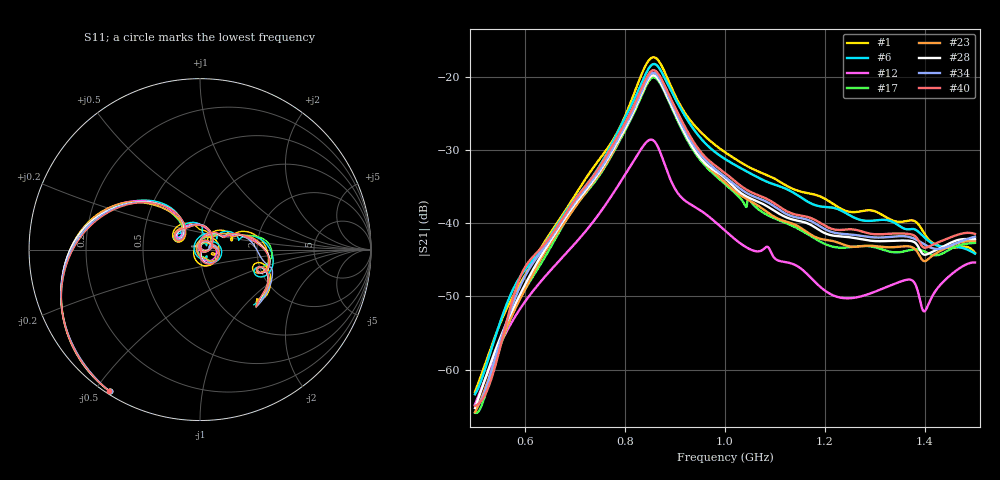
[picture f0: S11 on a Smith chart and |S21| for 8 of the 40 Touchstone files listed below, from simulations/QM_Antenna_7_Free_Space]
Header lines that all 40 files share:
! TOUCHSTONE file generated by CST MICROWAVE STUDIO
! Header version: 2018
! Port assignment regex: !\s*Touchstone port\s*([0-9]+)\s*=\s*(CST MWS port|CST DS port)\s*([0-9]+|Zmin|Zmax)\s*\(\"(.*)\"\)(\s*mode\s*([0-9]+))?.*
! Touchstone port assignment:
! Touchstone port 1 = CST MWS port 1 ("")
! Touchstone port 2 = CST MWS port 2 ("")
# GHz S DB R 50
Fixed: L_HA = 400, MT = 2.54, Rad_Dielectric = 30, Rad_Lower = 7.3, Rad_Upper = 30, a_HA = 580, a_WG = 246, b_HA = 500, b_WG = 121, c_HA = 0, c_WG = 187, d_feed = 85, h_feed = 15, h_lower = 18, h_upper = 40
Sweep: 500 MHz to 1.5 GHz
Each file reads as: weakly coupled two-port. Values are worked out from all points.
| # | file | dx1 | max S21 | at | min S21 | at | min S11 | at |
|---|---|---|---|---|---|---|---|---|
| 1 | 0_41.s2p | 866 | -17.36 dB | 857 MHz | -63.0 dB | 500 MHz | -48.4 dB | 924 MHz |
| 2 | 0_42.s2p | 883.4 | -17.61 dB | 862 MHz | -63.1 dB | 500 MHz | -43.4 dB | 918 MHz |
| 3 | 0_43.s2p | 900.7 | -17.76 dB | 857 MHz | -63.1 dB | 500 MHz | -54.6 dB | 1.119 GHz |
| 4 | 0_44.s2p | 918 | -17.97 dB | 858 MHz | -63.2 dB | 500 MHz | -48.9 dB | 909 MHz |
| 5 | 0_45.s2p | 935.3 | -18.12 dB | 858 MHz | -63.3 dB | 500 MHz | -79.4 dB | 903 MHz |
| 6 | 0_46.s2p | 953 | -18.28 dB | 858 MHz | -63.3 dB | 500 MHz | -40.2 dB | 900 MHz |
| 7 | 0_47.s2p | 970 | -18.35 dB | 858 MHz | -63.4 dB | 500 MHz | -34.4 dB | 896 MHz |
| 8 | 0_48.s2p | 987.3 | -18.40 dB | 858 MHz | -63.4 dB | 500 MHz | -33.4 dB | 931 MHz |
| 9 | 0_49.s2p | 1004.6 | -18.48 dB | 857 MHz | -63.6 dB | 500 MHz | -37.1 dB | 931 MHz |
| 10 | 0_50.s2p | 1021.9 | -18.53 dB | 858 MHz | -63.4 dB | 500 MHz | -43.9 dB | 924 MHz |
| 11 | 0_51.s2p | 1039 | -18.64 dB | 858 MHz | -63.5 dB | 500 MHz | -59.2 dB | 920 MHz |
| 12 | 1_1.s2p | 173 | -28.59 dB | 852 MHz | -64.7 dB | 500 MHz | -39.1 dB | 909 MHz |
| 13 | 1_2.s2p | 346 | -22.55 dB | 854 MHz | -63.7 dB | 500 MHz | -36.1 dB | 905 MHz |
| 14 | 1_3.s2p | 520 | -21.14 dB | 860 MHz | -64.6 dB | 500 MHz | -40.7 dB | 907 MHz |
| 15 | 1_4.s2p | 693 | -20.85 dB | 857 MHz | -64.9 dB | 500 MHz | -48.9 dB | 1.132 GHz |
| 16 | 1_5.s2p | 866 | -20.50 dB | 857 MHz | -65.5 dB | 500 MHz | -45.0 dB | 1.141 GHz |
| 17 | 1_6.s2p | 1039 | -20.09 dB | 857 MHz | -65.9 dB | 502 MHz | -43.4 dB | 905 MHz |
| 18 | 2_1.s2p | 173 | -27.09 dB | 853 MHz | -64.2 dB | 500 MHz | -39.6 dB | 909 MHz |
| 19 | 2_2.s2p | 346 | -21.86 dB | 854 MHz | -63.3 dB | 500 MHz | -39.6 dB | 907 MHz |
| 20 | 2_3.s2p | 520 | -20.55 dB | 856 MHz | -64.2 dB | 500 MHz | -40.3 dB | 905 MHz |
| 21 | 2_4.s2p | 693 | -20.36 dB | 857 MHz | -64.7 dB | 500 MHz | -47.9 dB | 1.129 GHz |
| 22 | 2_5.s2p | 866 | -20.21 dB | 861 MHz | -65.5 dB | 500 MHz | -48.9 dB | 1.142 GHz |
| 23 | 2_6.s2p | 1039 | -19.86 dB | 857 MHz | -65.8 dB | 500 MHz | -44.5 dB | 907 MHz |
| 24 | 3_1.s2p | 173 | -26.05 dB | 850 MHz | -63.6 dB | 500 MHz | -40.5 dB | 908 MHz |
| 25 | 3_2.s2p | 346 | -21.12 dB | 854 MHz | -62.9 dB | 500 MHz | -39.6 dB | 906 MHz |
| 26 | 3_3.s2p | 520 | -19.99 dB | 857 MHz | -63.9 dB | 500 MHz | -48.0 dB | 907 MHz |
| 27 | 3_4.s2p | 693 | -19.91 dB | 857 MHz | -64.8 dB | 500 MHz | -52.2 dB | 908 MHz |
| 28 | 3_5.s2p | 866 | -19.83 dB | 857 MHz | -65.2 dB | 500 MHz | -62.9 dB | 1.141 GHz |
| 29 | 3_6.s2p | 1039 | -19.58 dB | 858 MHz | -65.7 dB | 500 MHz | -48.0 dB | 908 MHz |
| 30 | 4_1.s2p | 173 | -25.01 dB | 851 MHz | -62.9 dB | 500 MHz | -41.7 dB | 909 MHz |
| 31 | 4_2.s2p | 346 | -20.33 dB | 854 MHz | -62.5 dB | 500 MHz | -45.2 dB | 907 MHz |
| 32 | 4_3.s2p | 520 | -19.46 dB | 856 MHz | -63.6 dB | 500 MHz | -57.7 dB | 910 MHz |
| 33 | 4_4.s2p | 693 | -19.48 dB | 857 MHz | -64.4 dB | 500 MHz | -52.4 dB | 911 MHz |
| 34 | 4_5.s2p | 866 | -19.46 dB | 857 MHz | -64.9 dB | 501 MHz | -76.1 dB | 909 MHz |
| 35 | 4_6.s2p | 1039 | -19.27 dB | 858 MHz | -65.7 dB | 500 MHz | -57.9 dB | 907 MHz |
| 36 | 5_1.s2p | 173 | -23.65 dB | 851 MHz | -62.3 dB | 500 MHz | -43.9 dB | 908 MHz |
| 37 | 5_2.s2p | 346 | -19.63 dB | 855 MHz | -62.2 dB | 500 MHz | -56.1 dB | 909 MHz |
| 38 | 5_3.s2p | 520 | -18.90 dB | 856 MHz | -63.4 dB | 500 MHz | -54.4 dB | 909 MHz |
| 39 | 5_4.s2p | 693 | -19.05 dB | 857 MHz | -64.1 dB | 500 MHz | -54.3 dB | 910 MHz |
| 40 | 5_5.s2p | 866 | -19.13 dB | 857 MHz | -64.9 dB | 500 MHz | -72.8 dB | 910 MHz |
